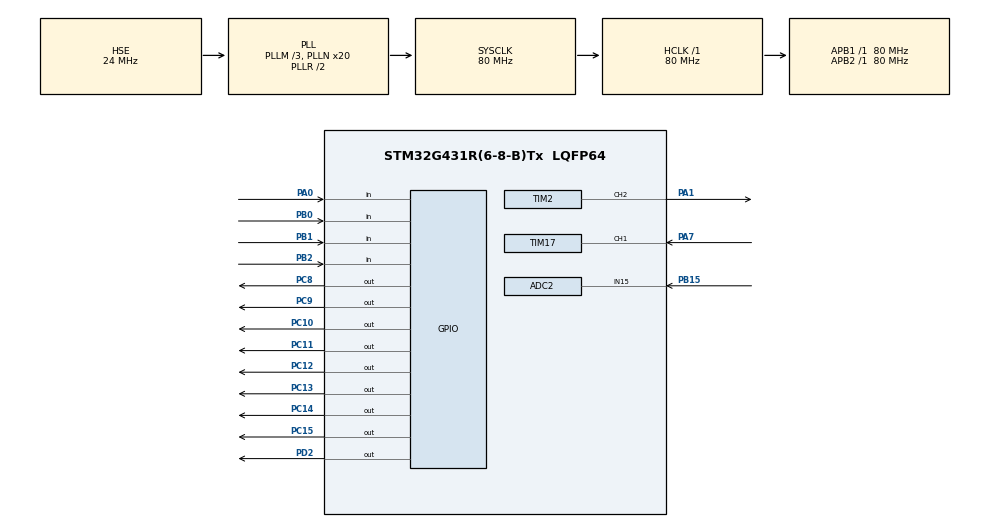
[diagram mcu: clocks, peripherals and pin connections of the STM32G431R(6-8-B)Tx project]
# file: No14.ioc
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ADC2.Channel-0\#ChannelRegularConversion=ADC_CHANNEL_15
ADC2.NbrOfConversionFlag=1
ADC2.OffsetNumber-0\#ChannelRegularConversion=ADC_OFFSET_NONE
ADC2.Rank-0\#ChannelRegularConversion=1
ADC2.SamplingTime-0\#ChannelRegularConversion=ADC_SAMPLETIME_2CYCLES_5
Mcu.Family=STM32G4
Mcu.Name=STM32G431R(6-8-B)Tx
Mcu.Package=LQFP64
NVIC.PriorityGroup=NVIC_PRIORITYGROUP_4
NVIC.TIM1_TRG_COM_TIM17_IRQn=true\:0\:0\:false\:false\:true\:true\:true\:true
NVIC.TIM3_IRQn=true\:0\:0\:false\:false\:true\:true\:true\:true
PA0.GPIO_PuPd=GPIO_PULLUP
PA0.Signal=GPIO_Input
PA1.Signal=S_TIM2_CH2
PA13.Mode=Serial_Wire
PA13.Signal=SYS_JTMS-SWDIO
PA14.Mode=Serial_Wire
PA14.Signal=SYS_JTCK-SWCLK
PA7.Signal=S_TIM17_CH1
PB0.GPIO_PuPd=GPIO_PULLUP
PB0.Signal=GPIO_Input
PB1.GPIO_PuPd=GPIO_PULLUP
PB1.Signal=GPIO_Input
PB15.Mode=IN15-Single-Ended
PB15.Signal=ADC2_IN15
PB2.GPIO_PuPd=GPIO_PULLUP
PB2.Signal=GPIO_Input
PC10.PinState=GPIO_PIN_SET
PC10.Signal=GPIO_Output
PC11.PinState=GPIO_PIN_SET
PC11.Signal=GPIO_Output
PC12.PinState=GPIO_PIN_SET
PC12.Signal=GPIO_Output
PC13.PinState=GPIO_PIN_SET
PC13.Signal=GPIO_Output
PC14-OSC32_IN.PinState=GPIO_PIN_SET
PC14-OSC32_IN.Signal=GPIO_Output
PC15-OSC32_OUT.PinState=GPIO_PIN_SET
PC15-OSC32_OUT.Signal=GPIO_Output
PC8.PinState=GPIO_PIN_SET
PC8.Signal=GPIO_Output
PC9.PinState=GPIO_PIN_SET
PC9.Signal=GPIO_Output
PD2.Signal=GPIO_Output
PF0-OSC_IN.Mode=HSE-External-Oscillator
PF0-OSC_IN.Signal=RCC_OSC_IN
PF1-OSC_OUT.Mode=HSE-External-Oscillator
PF1-OSC_OUT.Signal=RCC_OSC_OUT
ProjectManager.HeapSize=0x200
ProjectManager.StackSize=0x400
ProjectManager.TargetToolchain=MDK-ARM V5.32
RCC.ADC12Freq_Value=80000000
RCC.AHBFreq_Value=80000000
RCC.APB1Freq_Value=80000000
RCC.APB1TimFreq_Value=80000000
RCC.APB2Freq_Value=80000000
RCC.APB2TimFreq_Value=80000000
RCC.CortexFreq_Value=80000000
RCC.EXTERNAL_CLOCK_VALUE=12288000
RCC.HCLKFreq_Value=80000000
RCC.HSE_VALUE=24000000
RCC.HSI48_VALUE=48000000
RCC.HSI_VALUE=16000000
RCC.LSE_VALUE=32768
RCC.PLLM=RCC_PLLM_DIV3
RCC.PLLN=20
RCC.PLLSourceVirtual=RCC_PLLSOURCE_HSE
RCC.SYSCLKFreq_VALUE=80000000
RCC.SYSCLKSource=RCC_SYSCLKSOURCE_PLLCLK
RCC.USBFreq_Value=80000000
RCC.VCOOutputFreq_Value=160000000
SH.S_TIM17_CH1.0=TIM17_CH1,Input_Capture1_from_TI1
SH.S_TIM2_CH2.0=TIM2_CH2,PWM Generation2 CH2
TIM17.Channel=TIM_CHANNEL_1
TIM17.Prescaler=80-1
TIM2.Channel-PWM\ Generation2\ CH2=TIM_CHANNEL_2
TIM2.PeriodNoDither=100-1
TIM2.Prescaler=200-1
TIM3.PeriodNoDither=10000-1
TIM3.Prescaler=80-1
VP_SYS_VS_DBSignals.Mode=DisableDeadBatterySignals
VP_TIM17_VS_ClockSourceINT.Mode=Enable_Timer
VP_TIM2_VS_ClockSourceINT.Mode=Internal
VP_TIM3_VS_ClockSourceINT.Mode=Internal
board=custom

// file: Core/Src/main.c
/* USER CODE BEGIN Header */
/**
  ******************************************************************************
  * @file           : main.c
  * @brief          : Main program body
  ******************************************************************************
  * @attention
  *
  * Copyright (c) 2024 STMicroelectronics.
  * All rights reserved.
  *
  * This software is licensed under terms that can be found in the LICENSE file
  * in the root directory of this software component.
  * If no LICENSE file comes with this software, it is provided AS-IS.
  *
  ******************************************************************************
  */
/* USER CODE END Header */
#include "main.h"
#include "adc.h"
#include "tim.h"
#include "gpio.h"

/* USER CODE BEGIN Includes */
#include "mymain.h"

/* USER CODE END Includes */

void SystemClock_Config(void);

/* USER CODE BEGIN 0 */

//lcd
char text[50];

//DATA
char pwm_mode='L';
uint8_t mode_change=0;
int cur_duty;
int cur_psc=200;
float cur_v;

//PARA
int K=1,R=1;

//RECD
int N=0;
float MH,ML;
float last_lvm,last_hvm;
struct _count vm[2];

//adc
double adc_val;
int tmp_duty;

//B1
uint8_t lcd_sch=0;
uint32_t tick_mod,shining_mod;
uint8_t tick_l=0,tick_r=0,shining_l=0,shining_r=0;

//B2
uint64_t last_tick=0;
uint8_t RK_select=0;
int K_tmp=1,R_tmp=1;

//B3

//B4
uint8_t R37_lock=0;

/* USER CODE END 0 */

int main(void)
{

  /* MCU Configuration--------------------------------------------------------*/

  /* Reset of all peripherals, Initializes the Flash interface and the Systick. */
  HAL_Init();

  /* Configure the system clock */
  SystemClock_Config();

  /* Initialize all configured peripherals */
  MX_GPIO_Init();
  MX_ADC2_Init();
  MX_TIM2_Init();
  MX_TIM3_Init();
  MX_TIM17_Init();
  /* USER CODE BEGIN 2 */
	HAL_TIM_Base_Start_IT(&htim3);
	HAL_TIM_Base_Start_IT(&htim2);
	HAL_TIM_Base_Start_IT(&htim17);

	HAL_TIM_PWM_Start(&htim2,TIM_CHANNEL_2);
	__HAL_TIM_SET_PRESCALER(&htim2,200);
	__HAL_TIM_SET_COMPARE(&htim2,TIM_CHANNEL_2,10);

	HAL_TIM_IC_Start_IT(&htim17,TIM_CHANNEL_1);
	HAL_TIM_IC_Start(&htim17,TIM_CHANNEL_1);

	LCD_Init();

  LCD_SetBackColor(Black);
  LCD_SetTextColor(White);
	LCD_Clear(Black);

  //LCD_DisplayStringLine(Line4, (unsigned char *)"    Hello,world.   ");

	led_sta=0;
	led_set();

	vm[0].v_id=vm[1].v_id=-1;
	vm[0].start_tick=vm[1].start_tick=0xffffffff;

  /* USER CODE END 2 */

  /* Infinite loop */
  /* USER CODE BEGIN WHILE */
  while (1)
  {

		//R37 control duty
		adc_val=adc_read();
		tmp_duty=v_to_duty(adc_val);
		if(R37_lock==0)cur_duty=tmp_duty;

		__HAL_TIM_SET_COMPARE(&htim2,TIM_CHANNEL_2,cur_duty);
		__HAL_TIM_SET_PRESCALER(&htim2,cur_psc);

//		sprintf(text,"frq=%.2f   ",frq);
//		LCD_DisplayStringLine(Line4, (unsigned char *)text);

		//led
		led_set();

		mode_change_task();

		key_task();

		lcd_task();

		recd_task();

    /* USER CODE END WHILE */

  }
}

void SystemClock_Config(void)
{
  RCC_OscInitTypeDef RCC_OscInitStruct = {0};
  RCC_ClkInitTypeDef RCC_ClkInitStruct = {0};

  /** Configure the main internal regulator output voltage
  */
  HAL_PWREx_ControlVoltageScaling(PWR_REGULATOR_VOLTAGE_SCALE1);

  /** Initializes the RCC Oscillators according to the specified parameters
  * in the RCC_OscInitTypeDef structure.
  */
  RCC_OscInitStruct.OscillatorType = RCC_OSCILLATORTYPE_HSE;
  RCC_OscInitStruct.HSEState = RCC_HSE_ON;
  RCC_OscInitStruct.PLL.PLLState = RCC_PLL_ON;
  RCC_OscInitStruct.PLL.PLLSource = RCC_PLLSOURCE_HSE;
  RCC_OscInitStruct.PLL.PLLM = RCC_PLLM_DIV3;
  RCC_OscInitStruct.PLL.PLLN = 20;
  RCC_OscInitStruct.PLL.PLLP = RCC_PLLP_DIV2;
  RCC_OscInitStruct.PLL.PLLQ = RCC_PLLQ_DIV2;
  RCC_OscInitStruct.PLL.PLLR = RCC_PLLR_DIV2;
  if (HAL_RCC_OscConfig(&RCC_OscInitStruct) != HAL_OK)
  {
    Error_Handler();
  }

  /** Initializes the CPU, AHB and APB buses clocks
  */
  RCC_ClkInitStruct.ClockType = RCC_CLOCKTYPE_HCLK|RCC_CLOCKTYPE_SYSCLK
                              |RCC_CLOCKTYPE_PCLK1|RCC_CLOCKTYPE_PCLK2;
  RCC_ClkInitStruct.SYSCLKSource = RCC_SYSCLKSOURCE_PLLCLK;
  RCC_ClkInitStruct.AHBCLKDivider = RCC_SYSCLK_DIV1;
  RCC_ClkInitStruct.APB1CLKDivider = RCC_HCLK_DIV1;
  RCC_ClkInitStruct.APB2CLKDivider = RCC_HCLK_DIV1;

  if (HAL_RCC_ClockConfig(&RCC_ClkInitStruct, FLASH_LATENCY_2) != HAL_OK)
  {
    Error_Handler();
  }
}

/* USER CODE BEGIN 4 */

void lcd_task(){
	//lcd_sch
		if(lcd_sch==0){
			sprintf(text,"        DATA  ");
			LCD_DisplayStringLine(Line1, (unsigned char *)text);

			sprintf(text,"     M=%c  ",pwm_mode);
			LCD_DisplayStringLine(Line3, (unsigned char *)text);

			sprintf(text,"     P=%d%%   ",cur_duty);
			LCD_DisplayStringLine(Line4, (unsigned char *)text);

			sprintf(text,"     V=%.1f    ",cur_v);
			LCD_DisplayStringLine(Line5, (unsigned char *)text);

			led_sta|=0x1<<1;
		}
		else if(lcd_sch==1){
			sprintf(text,"        PARA  ");
			LCD_DisplayStringLine(Line1, (unsigned char *)text);

			sprintf(text,"     R=%d   ",R_tmp);
			LCD_DisplayStringLine(Line3, (unsigned char *)text);

			sprintf(text,"     K=%d   ",K_tmp);
			LCD_DisplayStringLine(Line4, (unsigned char *)text);

			led_sta &=~(0x1<<1);
		}
		else{
			K=K_tmp;
			R=R_tmp;

			sprintf(text,"        RECD  ");
			LCD_DisplayStringLine(Line1, (unsigned char *)text);

			sprintf(text,"     N=%d   ",N);
			LCD_DisplayStringLine(Line3, (unsigned char *)text);

			sprintf(text,"     MH=%.1f    ",MH);
			LCD_DisplayStringLine(Line4, (unsigned char *)text);

			sprintf(text,"     ML=%.1f    ",ML);
			LCD_DisplayStringLine(Line5, (unsigned char *)text);

			//led_sta &=~(0x1<<1);

		}

}

void key_task(){
	//key
		if(key[1].flag==1){
//			led_sta^=0x1<<1;
//			led_set();

			lcd_sch=(lcd_sch+1)%3;
			LCD_Clear(Black);
			led_set();

			key[1].flag=0;
		}

		if(key[2].flag==1){
			if(lcd_sch==0&&uwTick-last_tick>5000){
				if(pwm_mode=='L')mode_change=2;
				else mode_change=1;

				N++;

				last_tick=uwTick;
			}

			else if(lcd_sch==1){
				RK_select=(RK_select+1)%2;
			}

			key[2].flag=0;
		}

		if(key[3].flag==1&&lcd_sch==1){
			if(RK_select==0)R_tmp=R_tmp%10+1;
			else K_tmp=K_tmp%10+1;

			key[3].flag=0;
		}

		if(key[4].flag==1){

			if(lcd_sch==1){

				if(RK_select==0)R_tmp=(R_tmp+8)%10+1;
				else K_tmp=(K_tmp+8)%10+1;

			}
			else if(lcd_sch==0){
				R37_lock=0;
				led_sta &= ~(0x4<<1);
			}

			key[4].flag=0;
		}

		if(key[4].flag==3&&lcd_sch==0){
			led_sta^=0x1<<1;
			led_set();
			R37_lock=1;
			led_sta |= (0x4<<1);

			key[4].flag=0;
		}
}

void mode_change_task(){
	if(mode_change!=0){
			if(mode_change==1){

				if(uwTick%250<tick_mod)tick_r=0;
				else tick_r=1;

				if(uwTick%100<shining_mod)shining_r=0;
				else shining_r=1;

				if(cur_psc==100){//start
					tick_mod=125;
					tick_l=0;
					tick_r=1;

					shining_mod=50;
					shining_l=0;
					shining_r=1;
				}

				if(shining_l==0&&shining_r==1){
					led_sta^=(0x2<<1);
					led_set();
				}

				shining_l=shining_r;

				if(tick_l==0&&tick_r==1){
					cur_psc+=5;
				}

				tick_l=tick_r;

				if(cur_psc>=200){//end
					cur_psc=200;
					mode_change=0;
					pwm_mode='L';

					led_sta &= ~(0x2<<1);
					led_set();
				}

			}
			else{

				if(uwTick%250<tick_mod)tick_r=0;
				else tick_r=1;

				if(uwTick%100<shining_mod)shining_r=0;
				else shining_r=1;

				if(cur_psc==200){//start
					tick_mod=125;
					tick_l=0;
					tick_r=1;

					shining_mod=50;
					shining_l=0;
					shining_r=1;
				}

				if(shining_l==0&&shining_r==1){
					led_sta^=(0x2<<1);
					led_set();
				}

				shining_l=shining_r;

				if(tick_l==0&&tick_r==1){
					cur_psc-=5;
				}

				tick_l=tick_r;

				if(cur_psc<=100){//end
					cur_psc=100;
					mode_change=0;
					pwm_mode='H';

					led_sta &= ~(0x2<<1);
					led_set();
				}

			}
		}

}

void recd_task(){

		if(pwm_mode=='L'){
			if(ML<cur_v){
				if(vm[0].v_id<0){
					vm[0].v_id=cur_v;
					vm[0].start_tick=uwTick;
				}
				else{
					if((int)(vm[0].v_id*10)==(int)(cur_v*10)){
						if(uwTick-vm[0].start_tick>2000){//change to larger
							ML=cur_v;
							vm[0].v_id=-1;
							vm[0].start_tick=0xffffffff;
						}
					}
					else{
						vm[0].v_id=-1;
						vm[0].start_tick=0xffffffff;
					}
				}
			}
		}
		else{
			if(MH<cur_v){
				if(vm[1].v_id<0){
					vm[1].v_id=cur_v;
					vm[1].start_tick=uwTick;
				}
				else{
					if((int)(vm[1].v_id*10)==(int)(cur_v*10)){
						if(uwTick-vm[1].start_tick>2000){//change to larger
							MH=cur_v;
							vm[1].v_id=-1;
							vm[1].start_tick=0xffffffff;
						}
					}
					else{
						vm[1].v_id=-1;
						vm[1].start_tick=0xffffffff;
					}
				}
			}

		}

}

/* USER CODE END 4 */

void Error_Handler(void)
{
  __disable_irq();
  while (1)
  {
  }
}
